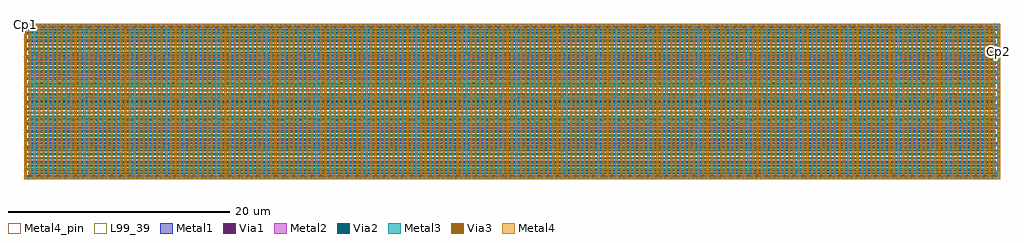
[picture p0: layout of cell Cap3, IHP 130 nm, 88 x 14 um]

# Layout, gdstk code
from math import pi, radians
import gdstk
lib = gdstk.Library(unit=1e-6, precision=1e-09)
def R(c, l, rs):  # rectangles x0, y0, x1, y1
    for r in rs: c.add(gdstk.rectangle(r[:2], r[2:], *l))
def A(c, l, x, y, w, h, nx, ny, dx, dy):  # array of equal rectangles
    R(c, l, [(x+i*dx, y+j*dy, x+i*dx+w, y+j*dy+h) for i in range(nx) for j in range(ny)])
Metal1 = (8, 0)
Metal2 = (10, 0)
Via1 = (19, 0)
Via2 = (29, 0)
Metal3 = (30, 0)
Via3 = (49, 0)
Metal4 = (50, 0)
Metal4_pin = (50, 2)
L99_39 = (99, 39)

cap_mfringe = lib.new_cell('cap_mfringe')
A(cap_mfringe, Metal1, 0.46, 0, 0.16, 87.61, 20, 1, 0.68, 0)
A(cap_mfringe, Metal1, 0.8, 0.39, 0.16, 87.61, 19, 1, 0.68, 0)
R(cap_mfringe, Metal1, [(0,0,0.28,88), (0,0,13.54,0.21), (13.72,0,14,88), (0.46,87.79,14,88)])
A(cap_mfringe, Metal2, 0.42, 0.44, 13.58, 0.2, 1, 107, 0, 0.82)
A(cap_mfringe, Metal2, 0, 0.85, 13.58, 0.2, 1, 106, 0, 0.82)
R(cap_mfringe, Metal2, [(0,0,0.205,87.56), (0,0,14,0.23), (13.795,0.44,14,88), (0,87.77,14,88)])
A(cap_mfringe, Via1, 0.755, 0.01, 0.19, 0.19, 31, 1, 0.41, 0)
A(cap_mfringe, Via1, 0.01, 0.55, 0.19, 0.19, 1, 212, 0, 0.41)
A(cap_mfringe, Via1, 13.8, 0.75, 0.19, 0.19, 1, 212, 0, 0.41)
A(cap_mfringe, Via1, 0.855, 87.8, 0.19, 0.19, 31, 1, 0.41, 0)
A(cap_mfringe, Via2, 0.755, 0.005, 0.19, 0.19, 31, 1, 0.41, 0)
A(cap_mfringe, Via2, 0.005, 0.55, 0.19, 0.19, 1, 212, 0, 0.41)
A(cap_mfringe, Via2, 13.805, 0.75, 0.19, 0.19, 1, 212, 0, 0.41)
A(cap_mfringe, Via2, 0.855, 87.805, 0.19, 0.19, 31, 1, 0.41, 0)
A(cap_mfringe, Metal3, 0.545, 0, 0.2, 87.59, 16, 1, 0.82, 0)
A(cap_mfringe, Metal3, 0.955, 0.41, 0.2, 87.59, 16, 1, 0.82, 0)
R(cap_mfringe, Metal3, [(0,0,0.335,88), (0,0,13.455,0.2), (13.665,0,14,88), (0.545,87.8,14,88)])
A(cap_mfringe, Via3, 0.755, 0.005, 0.19, 0.19, 31, 1, 0.41, 0)
A(cap_mfringe, Via3, 0.005, 0.55, 0.19, 0.19, 1, 212, 0, 0.41)
A(cap_mfringe, Via3, 13.805, 0.75, 0.19, 0.19, 1, 212, 0, 0.41)
A(cap_mfringe, Via3, 0.855, 87.805, 0.19, 0.19, 31, 1, 0.41, 0)
A(cap_mfringe, Metal4, 0.41, 0.44, 13.59, 0.2, 1, 107, 0, 0.82)
A(cap_mfringe, Metal4, 0, 0.85, 13.59, 0.2, 1, 106, 0, 0.82)
R(cap_mfringe, Metal4, [(0,0,0.2,87.56), (0,0,14,0.23), (13.8,0.44,14,88), (0,87.77,14,88)])
R(cap_mfringe, Metal4_pin, [(0,43.9,0.2,44.1), (6.9,87.8,7.1,88)])
R(cap_mfringe, L99_39, [(0,0,14,88)])
cap_mfringe.add(gdstk.Label('cap_mfringe C=2858.240fF', (0,-0.5), layer=63, texttype=0))

cap3 = lib.new_cell('Cap3')
cap3.add(gdstk.FlexPath([(0,13.9),(0.44,13.9)], 0.2, ends="flush", simple_path=True, layer=50, datatype=2))  # Metal4_pin
cap3.add(gdstk.FlexPath([(87.885,11.855),(87.885,11.2)], 0.2, ends="flush", simple_path=True, layer=50, datatype=2))  # Metal4_pin
r = gdstk.Reference(cap_mfringe, (88,0), rotation=pi/2); r.repetition = gdstk.Repetition(1, 1, v1=(0,0), v2=(0,0)); cap3.add(r)
cap3.add(gdstk.Label('Cp2', (87.885,11.545), layer=50, texttype=25))
cap3.add(gdstk.Label('Cp1', (0.135,13.935), layer=50, texttype=25))

lib.write_gds('Cap3.gds')
